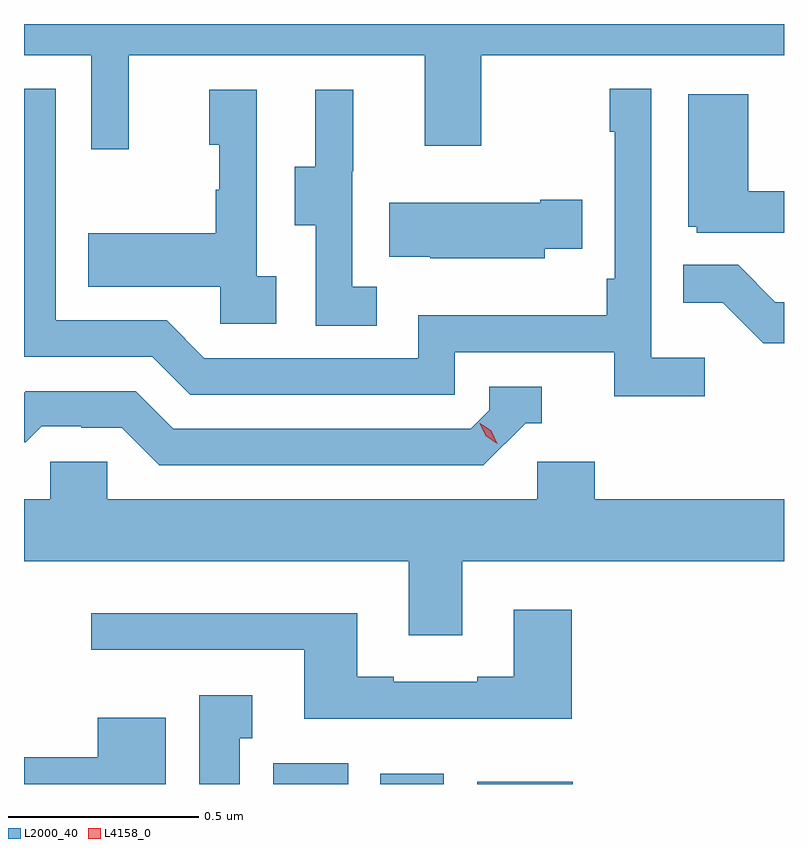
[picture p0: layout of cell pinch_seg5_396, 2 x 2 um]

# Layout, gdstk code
import gdstk
lib = gdstk.Library(unit=1e-6, precision=1e-09)
def R(c, l, rs):  # rectangles x0, y0, x1, y1
    for r in rs: c.add(gdstk.rectangle(r[:2], r[2:], *l))
def P(c, l, *ps):  # polygons
    for p in ps: c.add(gdstk.Polygon(p, *l))
L2000_40 = (2000, 40)
L4158_0 = (4158, 0)

pinch_seg5_396 = lib.new_cell('pinch_seg5_396')
R(pinch_seg5_396, L2000_40, [(994.976,870.826,995.173,870.88), (995.258,870.826,995.425,870.853), (995.513,870.826,995.764,870.832)])
P(pinch_seg5_396, L2000_40, [(994.595,872.744),(995.375,872.744),(995.375,872.505),(995.523,872.505),(995.523,872.744),(996.32,872.744),(996.32,872.826),(994.32,872.826),(994.32,872.744),(994.497,872.744),(994.497,872.496),(994.595,872.496)],
  [(996.112,871.948),(995.97,871.948),(995.97,872.656),(995.862,872.656),(995.862,872.543),(995.874,872.543),(995.874,872.155),(995.854,872.155),(995.854,872.059),(995.358,872.059),(995.358,871.947),(994.794,871.947),(994.695,872.046),(994.404,872.046),(994.404,872.655),(994.32,872.655),(994.32,871.95),(994.658,871.95),(994.757,871.851),(995.454,871.851),(995.454,871.962),(995.873,871.962),(995.873,871.846),(996.112,871.846)],
  [(995.248,872.135),(995.184,872.135),(995.184,872.439),(995.186,872.439),(995.186,872.653),(995.087,872.653),(995.087,872.451),(995.033,872.451),(995.033,872.296),(995.088,872.296),(995.088,872.032),(995.248,872.032)],
  [(994.984,872.162),(994.932,872.162),(994.932,872.653),(994.808,872.653),(994.808,872.508),(994.834,872.508),(994.834,872.39),(994.824,872.39),(994.824,872.275),(994.489,872.275),(994.489,872.135),(994.836,872.135),(994.836,872.037),(994.984,872.037)],
  [(996.32,872.386),(996.226,872.386),(996.226,872.641),(996.068,872.641),(996.068,872.292),(996.09,872.292),(996.09,872.277),(996.32,872.277)],
  [(995.691,872.234),(995.789,872.234),(995.789,872.364),(995.678,872.364),(995.678,872.356),(995.281,872.356),(995.281,872.213),(995.389,872.213),(995.389,872.21),(995.691,872.21)],
  [(996.32,872.094),(996.297,872.094),(996.199,872.192),(996.055,872.192),(996.055,872.093),(996.159,872.093),(996.266,871.986),(996.32,871.986)],
  [(995.64,871.776),(995.683,871.776),(995.683,871.872),(995.544,871.872),(995.544,871.809),(995.496,871.761),(994.713,871.761),(994.614,871.86),(994.325,871.86),(994.32,871.855),(994.32,871.725),(994.325,871.725),(994.367,871.767),(994.47,871.767),(994.47,871.764),(994.577,871.764),(994.676,871.665),(995.529,871.665)],
  [(995.473,871.412),(996.32,871.412),(996.32,871.576),(995.822,871.576),(995.822,871.674),(995.67,871.674),(995.67,871.576),(994.539,871.576),(994.539,871.674),(994.389,871.674),(994.389,871.576),(994.32,871.576),(994.32,871.412),(995.333,871.412),(995.333,871.218),(995.473,871.218)],
  [(995.762,871.285),(995.609,871.285),(995.609,871.108),(995.513,871.108),(995.513,871.095),(995.293,871.095),(995.293,871.108),(995.197,871.108),(995.197,871.276),(994.497,871.276),(994.497,871.179),(995.057,871.179),(995.057,870.998),(995.762,870.998)],
  [(994.888,870.947),(994.921,870.947),(994.921,871.06),(994.781,871.06),(994.781,870.826),(994.888,870.826)],
  [(994.693,871),(994.514,871),(994.514,870.896),(994.32,870.896),(994.32,870.826),(994.693,870.826)])
P(pinch_seg5_396, L4158_0, [(995.565,871.722),(995.535,871.742),(995.519,871.774),(995.519,871.775),(995.52,871.775),(995.55,871.755),(995.565,871.722),(995.565,871.722)])

lib.write_gds('pinch_seg5_396.gds')
